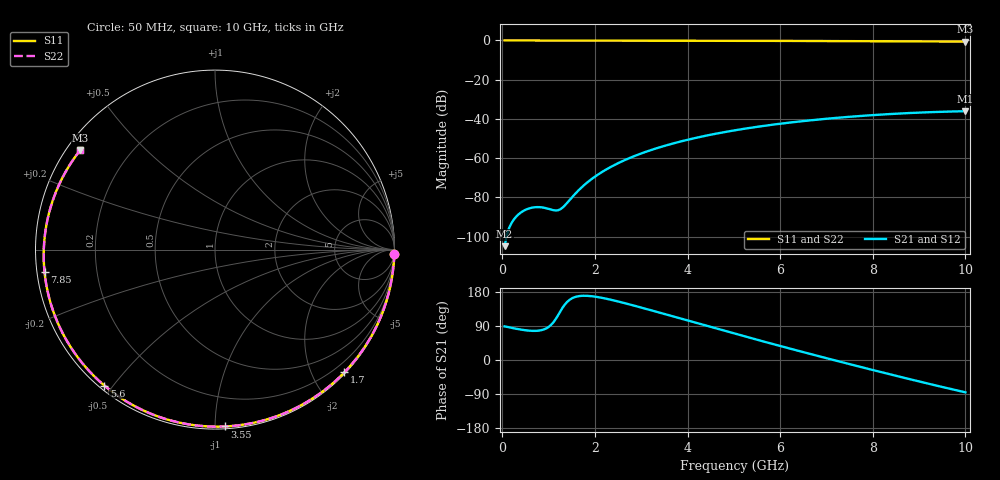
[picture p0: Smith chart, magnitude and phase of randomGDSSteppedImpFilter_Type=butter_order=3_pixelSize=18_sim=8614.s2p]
! freq	dB(S11)	phase(S11)	dB(S12)	phase(S12)
!  dB(S21)	phase(S21)	dB(S22)	phase(S22)
!S-par simulation data
#  GHz  S  DB  R 50
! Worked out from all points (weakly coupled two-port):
!   200 points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, 50 MHz to 10 GHz, reference 50 ohm
!   highest |S21| = -36.05 dB at 10 GHz (marker M1); lowest = -104.8 dB at 50 MHz (marker M2)
!   lowest |S11| = -0.6 dB at 10 GHz (marker M3), VSWR 28.97, Z = 1.91 + j16.5 ohm
!   |S11| at or under -10 dB: nowhere
!   |S22| runs from -0.6 to 0.0 dB; largest |S21 - S12| = 0
!   S11 on the Smith chart (normalised r, x): 50 MHz: 1, -90; 1.7 GHz: 0.02, -2.51; 3.55 GHz: 0.01, -1.06; 5.6 GHz: 0.01, -0.48; 7.85 GHz: 0.02, -0.06; 10 GHz: 0.04, +0.33
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0.05  -0.00 -1.3  -104.81 88.7  -104.81 88.7  -0.00 -1.3
0.4  -0.02 -10.4  -87.68 80.3  -87.68 80.3  -0.02 -10.4
0.75  -0.03 -19.5  -84.91 77.1  -84.91 77.1  -0.03 -19.5
1.1  -0.04 -28.4  -86.47 99.0  -86.47 99.0  -0.04 -28.4
1.5  -0.05 -38.5  -80.07 162.5  -80.07 162.5  -0.05 -38.5
1.7  -0.06 -43.5  -75.15 169.2  -75.15 169.2  -0.06 -43.5
1.75  -0.06 -44.7  -74.07 169.5  -74.07 169.5  -0.06 -44.7
2.05  -0.07 -52.1  -68.59 166.3  -68.59 166.3  -0.07 -52.1
2.45  -0.08 -61.6  -63.12 156.0  -63.12 156.0  -0.08 -61.6
2.9  -0.09 -72.1  -58.46 141.7  -58.46 141.7  -0.09 -72.1
3.4  -0.11 -83.4  -54.43 124.8  -54.43 124.8  -0.11 -83.4
3.55  -0.11 -86.7  -53.39 119.7  -53.39 119.7  -0.11 -86.7
4.25  -0.14 -101.8  -49.27 95.7  -49.27 95.7  -0.14 -101.8
5.05  -0.18 -118.2  -45.67 68.5  -45.67 68.5  -0.18 -118.2
5.6  -0.21 -129.1  -43.68 50.2  -43.68 50.2  -0.21 -129.1
6.15  -0.24 -139.9  -42.00 32.1  -42.00 32.1  -0.24 -139.9
6.7  -0.28 -150.5  -40.58 14.3  -40.58 14.3  -0.28 -150.5
7.3  -0.33 -162.0  -39.28 -4.7  -39.28 -4.7  -0.33 -162.0
7.85  -0.37 -172.6  -38.28 -21.8  -38.28 -21.8  -0.37 -172.6
8.35  -0.42 177.6  -37.53 -37.1  -37.53 -37.1  -0.42 177.6
9.2  -0.51 160.5  -36.58 -62.5  -36.58 -62.5  -0.51 160.5
10  -0.60 143.5  -36.05 -85.3  -36.05 -85.3  -0.60 143.5
